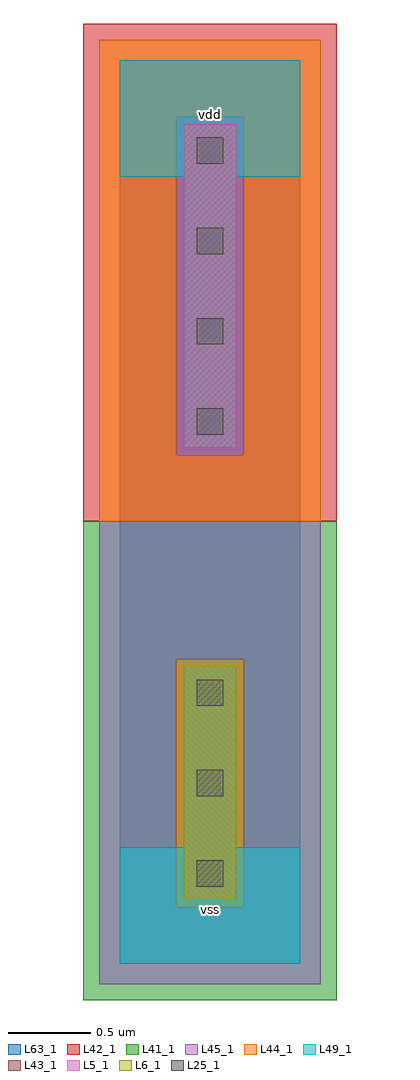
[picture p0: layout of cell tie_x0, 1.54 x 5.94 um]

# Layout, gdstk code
import gdstk
lib = gdstk.Library(unit=1e-6, precision=1e-09)
def R(c, l, rs):  # rectangles x0, y0, x1, y1
    for r in rs: c.add(gdstk.rectangle(r[:2], r[2:], *l))
def A(c, l, x, y, w, h, nx, ny, dx, dy):  # array of equal rectangles
    R(c, l, [(x+i*dx, y+j*dy, x+i*dx+w, y+j*dy+h) for i in range(nx) for j in range(ny)])
L5_1 = (5, 1)
L6_1 = (6, 1)
L25_1 = (25, 1)
L41_1 = (41, 1)
L42_1 = (42, 1)
L43_1 = (43, 1)
L44_1 = (44, 1)
L45_1 = (45, 1)
L49_1 = (49, 1)
L63_1 = (63, 1)

tie_x0 = lib.new_cell('tie_x0')
R(tie_x0, L5_1, [(0.39,3.14,0.71,5.11)])
R(tie_x0, L6_1, [(0.39,0.39,0.71,1.81)])
A(tie_x0, L25_1, 0.47, 0.47, 0.16, 0.16, 1, 3, 0, 0.55)
A(tie_x0, L25_1, 0.47, 3.22, 0.16, 0.16, 1, 4, 0, 0.55)
R(tie_x0, L41_1, [(-0.22,-0.22,1.32,2.695)])
R(tie_x0, L42_1, [(-0.22,2.695,1.32,5.72)])
R(tie_x0, L43_1, [(0.39,0.39,0.71,1.81), (0.39,3.14,0.71,5.11)])
R(tie_x0, L44_1, [(0.345,0.345,0.755,1.855), (-0.125,2.695,1.225,3.095), (-0.125,3.095,0.345,5.155), (0.755,3.095,1.225,5.155), (-0.125,5.155,1.225,5.625)])
R(tie_x0, L45_1, [(-0.125,-0.125,1.225,0.345), (-0.125,0.345,0.345,1.855), (0.755,0.345,1.225,1.855), (-0.125,1.855,1.225,2.695), (0.345,3.095,0.755,5.155)])
R(tie_x0, L49_1, [(0,0,1.1,0.71), (0.39,0.71,0.71,1.81), (0.39,3.14,0.71,4.79), (0,4.79,1.1,5.5)])
R(tie_x0, L63_1, [(0,0,1.1,5.5)])
tie_x0.add(gdstk.Label('vss', (0.55,0.33), layer=49, texttype=1))
tie_x0.add(gdstk.Label('vss', (0.55,0.33), layer=49, texttype=1))
tie_x0.add(gdstk.Label('vdd', (0.55,5.17), layer=49, texttype=1))
tie_x0.add(gdstk.Label('vdd', (0.55,5.17), layer=49, texttype=1))

lib.write_gds('tie_x0.gds')
